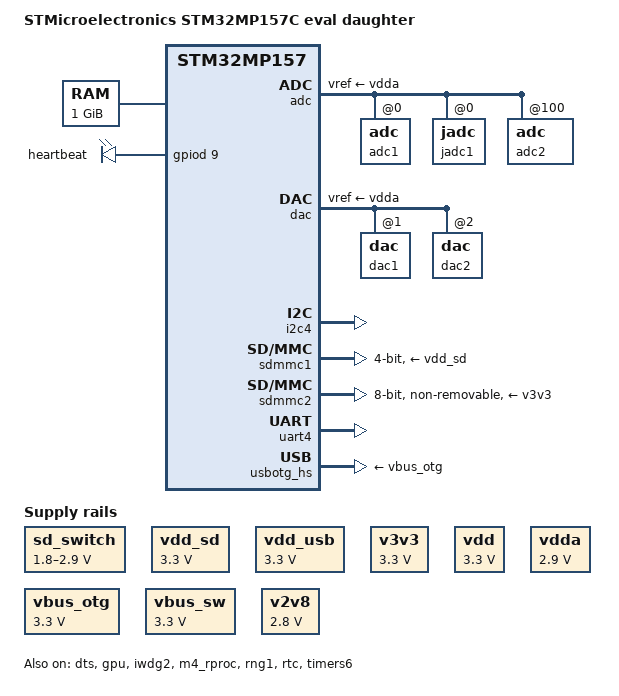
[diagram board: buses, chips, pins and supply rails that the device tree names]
// SPDX-License-Identifier: (GPL-2.0+ OR BSD-3-Clause)
/*
 * Copyright (C) STMicroelectronics 2017 - All Rights Reserved
 * Author: Ludovic Barre <ludovic.barre@st.com> for STMicroelectronics.
 */
/dts-v1/;

#include "stm32mp157c.dtsi"
#include "stm32mp157c-m4-srm.dtsi"
#include "stm32mp157caa-pinctrl.dtsi"

/ {
	model = "STMicroelectronics STM32MP157C eval daughter";
	compatible = "st,stm32mp157c-ed1", "st,stm32mp157";

	chosen {
		stdout-path = "serial0:115200n8";
	};

	memory@c0000000 {
		reg = <0xC0000000 0x40000000>;
	};

	reserved-memory {
		#address-cells = <1>;
		#size-cells = <1>;
		ranges;

		retram: retram@0x38000000 {
			compatible = "shared-dma-pool";
			reg = <0x38000000 0x10000>;
			no-map;
		};

		mcuram: mcuram@0x30000000 {
			compatible = "shared-dma-pool";
			reg = <0x30000000 0x40000>;
			no-map;
		};

		mcuram2: mcuram2@0x10000000 {
			compatible = "shared-dma-pool";
			reg = <0x10000000 0x40000>;
			no-map;
		};

		vdev0vring0: vdev0vring0@10040000 {
			compatible = "shared-dma-pool";
			reg = <0x10040000 0x2000>;
			no-map;
		};

		vdev0vring1: vdev0vring1@10042000 {
			compatible = "shared-dma-pool";
			reg = <0x10042000 0x2000>;
			no-map;
		};

		vdev0buffer: vdev0buffer@10044000 {
			compatible = "shared-dma-pool";
			reg = <0x10044000 0x4000>;
			no-map;
		};

		gpu_reserved: gpu@e8000000 {
			reg = <0xe8000000 0x8000000>;
			no-map;
		};
	};

	aliases {
		serial0 = &uart4;
	};

	sram: sram@10050000 {
		compatible = "mmio-sram";
		reg = <0x10050000 0x10000>;
		#address-cells = <1>;
		#size-cells = <1>;
		ranges = <0 0x10050000 0x10000>;

		dma_pool: dma_pool@0 {
			reg = <0x0 0x10000>;
			pool;
		};
	};

	led {
		compatible = "gpio-leds";
		blue {
			label = "heartbeat";
			gpios = <&gpiod 9 GPIO_ACTIVE_HIGH>;
			linux,default-trigger = "heartbeat";
			default-state = "off";
		};
	};

	sd_switch: regulator-sd_switch {
		compatible = "regulator-gpio";
		regulator-name = "sd_switch";
		regulator-min-microvolt = <1800000>;
		regulator-max-microvolt = <2900000>;
		regulator-type = "voltage";
		regulator-always-on;

		gpios = <&gpiof 14 GPIO_ACTIVE_HIGH>;
		gpios-states = <0>;
		states = <1800000 0x1 2900000 0x0>;
	};

	vdd_sd: regulator-vdd_sd {
		compatible = "regulator-fixed";
		regulator-name = "vdd_sd";
		regulator-min-microvolt = <3300000>;
		regulator-max-microvolt = <3300000>;
		regulator-always-on;
	};

	vdd_usb: vdd-usb {
		compatible = "regulator-fixed";
		regulator-name = "vdd_usb";
		regulator-min-microvolt = <3300000>;
		regulator-max-microvolt = <3300000>;
		regulator-always-on;
	};

	v3v3: regulator-v3v3 {
		compatible = "regulator-fixed";
		regulator-name = "v3v3";
		regulator-min-microvolt = <3300000>;
		regulator-max-microvolt = <3300000>;
		regulator-always-on;
	};

	vdd: regulator-vdd {
		compatible = "regulator-fixed";
		regulator-name = "vdd";
		regulator-min-microvolt = <3300000>;
		regulator-max-microvolt = <3300000>;
		regulator-always-on;
	};

	vdda: regulator-vdda {
		compatible = "regulator-fixed";
		regulator-name = "vdda";
		regulator-min-microvolt = <2900000>;
		regulator-max-microvolt = <2900000>;
		regulator-always-on;
	};

	vbus_otg: regulator-vbus_otg {
		compatible = "regulator-fixed";
		regulator-name = "vbus_otg";
		regulator-min-microvolt = <3300000>;
		regulator-max-microvolt = <3300000>;
		regulator-always-on;
	};

	vbus_sw: regulator-vbus_sw {
		compatible = "regulator-fixed";
		regulator-name = "vbus_sw";
		regulator-min-microvolt = <3300000>;
		regulator-max-microvolt = <3300000>;
		regulator-always-on;
	};

	v2v8: regulator-v2v8 {
		compatible = "regulator-fixed";
		regulator-name = "v2v8";
		regulator-min-microvolt = <2800000>;
		regulator-max-microvolt = <2800000>;
		regulator-always-on;
	};
};

&adc {
	/* ANA0, ANA1 are dedicated pins and don't need pinctrl: only in6. */
	vdd-supply = <&vdd>;
	vdda-supply = <&vdda>;
	vref-supply = <&vdda>;
	status = "okay";
	adc1: adc@0 {
		st,adc-channels = <0 1>;
		/* 16.5 ck_cycles sampling time */
		st,min-sample-time-nsecs = <400>;
		status = "okay";
	};
	jadc1: jadc@0 {
		st,adc-channels = <0 1>;
		/* 16.5 ck_cycles sampling time */
		st,min-sample-time-nsecs = <400>;
		status = "okay";
	};
	/* temperature sensor on adc2 */
	adc2: adc@100 {
		status = "okay";
	};
	adc_temp: temp {
		status = "okay";
	};
};

&dac {
	pinctrl-names = "default";
	pinctrl-0 = <&dac_ch1_pins_a &dac_ch2_pins_a>;
	vref-supply = <&vdda>;
	status = "okay";
	dac1: dac@1 {
		status = "okay";
	};
	dac2: dac@2 {
		status = "okay";
	};
};

&dma1 {
	sram = <&dma_pool>;
};

&dma2 {
	sram = <&dma_pool>;
};

&dts {
	status = "okay";
};

&gpu {
	contiguous-area = <&gpu_reserved>;
	status = "okay";
};

&i2c4 {
	pinctrl-names = "default", "sleep";
	pinctrl-0 = <&i2c4_pins_a>;
	pinctrl-1 = <&i2c4_pins_sleep_a>;
	i2c-scl-rising-time-ns = <185>;
	i2c-scl-falling-time-ns = <20>;
	status = "okay";
	/delete-property/dmas;
	/delete-property/dma-names;

};

&ipcc {
	status = "okay";
};

&iwdg2 {
	timeout-sec = <32>;
	status = "okay";
};

&m4_rproc {
	memory-region = <&retram>, <&mcuram>, <&mcuram2>, <&vdev0vring0>,
			<&vdev0vring1>, <&vdev0buffer>;
	mboxes = <&ipcc 0>, <&ipcc 1>, <&ipcc 2>;
	mbox-names = "vq0", "vq1", "shutdown";
	interrupt-parent = <&exti>;
	interrupts = <68 1>;
	interrupt-names = "wdg";
	wakeup-source;
	recovery;
	status = "okay";
};

&pwr {
	pwr-regulators {
		vdd-supply = <&vdd>;
		vdd_3v3_usbfs-supply = <&vdd_usb>;
	};
};

&rng1 {
	status = "okay";
};

&rtc {
	status = "okay";
};

&sdmmc1 {
	pinctrl-names = "default", "opendrain", "sleep";
	pinctrl-0 = <&sdmmc1_b4_pins_a &sdmmc1_dir_pins_a>;
	pinctrl-1 = <&sdmmc1_b4_od_pins_a &sdmmc1_dir_pins_a>;
	pinctrl-2 = <&sdmmc1_b4_sleep_pins_a &sdmmc1_dir_sleep_pins_a>;
	broken-cd;
	st,sig-dir;
	st,neg-edge;
	st,use-ckin;
	bus-width = <4>;
	vmmc-supply = <&vdd_sd>;
	vqmmc-supply = <&sd_switch>;
	sd-uhs-sdr12;
	sd-uhs-sdr25;
	sd-uhs-sdr50;
	sd-uhs-ddr50;
	sd-uhs-sdr104;
	status = "okay";
};

&sdmmc2 {
	pinctrl-names = "default", "opendrain", "sleep";
	pinctrl-0 = <&sdmmc2_b4_pins_a &sdmmc2_d47_pins_a>;
	pinctrl-1 = <&sdmmc2_b4_od_pins_a &sdmmc2_d47_pins_a>;
	pinctrl-2 = <&sdmmc2_b4_sleep_pins_a &sdmmc2_d47_sleep_pins_a>;
	non-removable;
	no-sd;
	no-sdio;
	st,neg-edge;
	bus-width = <8>;
	vmmc-supply = <&v3v3>;
	vqmmc-supply = <&v3v3>;
	mmc-ddr-3_3v;
	status = "okay";
};

&timers6 {
	status = "okay";
	/* spare dmas for other usage */
	/delete-property/dmas;
	/delete-property/dma-names;
	timer@5 {
		status = "okay";
	};
};

&uart4 {
	pinctrl-names = "default", "sleep", "idle", "no_console_suspend";
	pinctrl-0 = <&uart4_pins_a>;
	pinctrl-1 = <&uart4_sleep_pins_a>;
	pinctrl-2 = <&uart4_idle_pins_a>;
	pinctrl-3 = <&uart4_pins_a>;
	status = "okay";
};

&usbotg_hs {
	vbus-supply = <&vbus_otg>;
};

&usbphyc {
	vdd3v3-supply = <&vdd_usb>;
};
